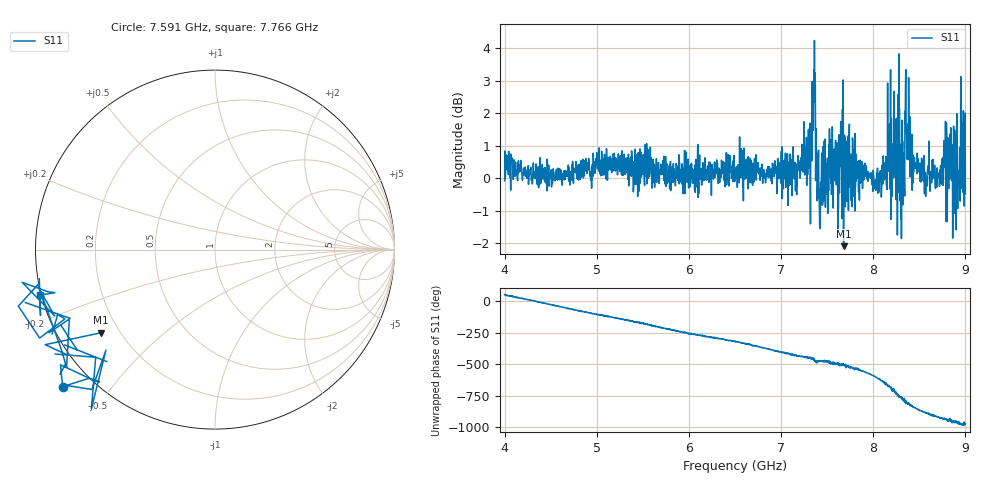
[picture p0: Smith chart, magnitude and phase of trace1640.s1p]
! Created with skrf 1.8.0 (http://scikit-rf.org).
# Hz S RI R 50.0
!freq ReS11 ImS11
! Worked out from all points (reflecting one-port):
!   1601 points, 4 GHz to 9 GHz, reference 50 ohm
!   lowest |S11| = -2.1 dB at 7.678 GHz (marker M1), VSWR 8.36, Z = 6.61 - j16 ohm
!   phase of S11 starts at 54 deg and turns -1029 deg over the sweep
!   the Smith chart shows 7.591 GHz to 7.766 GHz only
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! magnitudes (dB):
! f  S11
! 4 GHz  -0.1
! 4.625 GHz  -0.2
! 5.25 GHz  0.2
! 5.875 GHz  0.0
! 6.5 GHz  0.3
! 7.125 GHz  0.7
! 7.294 GHz  1.1
! 7.328 GHz  0.8
! 7.347 GHz  2.6
! 7.381 GHz  0.6
! 7.4 GHz  0.8
! 7.428 GHz  -0.2
! 7.534 GHz  0.7
! 7.609 GHz  1.0
! 7.65 GHz  1.5
! 7.678 GHz  -2.1
! 7.75 GHz  0.0
! 8.075 GHz  0.2
! 8.253 GHz  0.7
! 8.316 GHz  0.4
! 8.334 GHz  0.4
! 8.375 GHz  1.2
! 8.425 GHz  0.4
! 8.556 GHz  -0.5
! 8.834 GHz  1.4
! 8.875 GHz  1.2
! 8.972 GHz  0.5
! 9 GHz  -0.5
